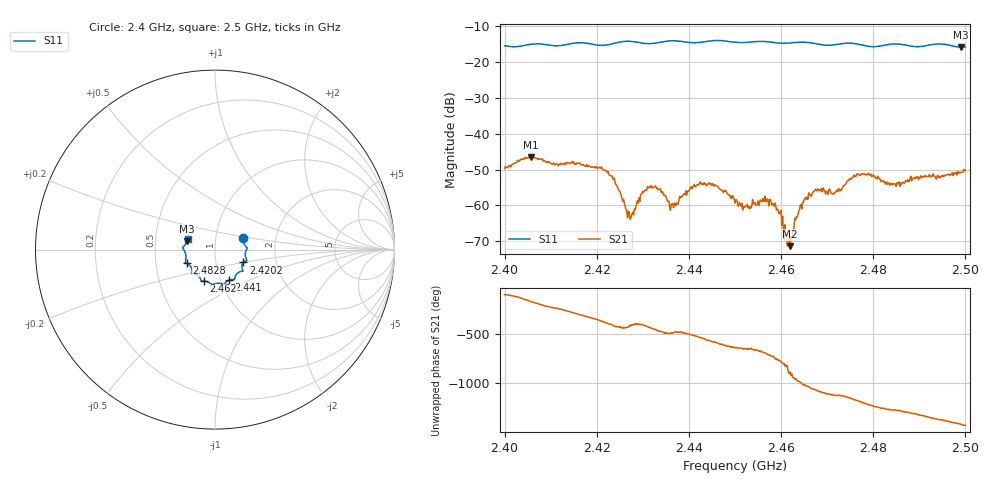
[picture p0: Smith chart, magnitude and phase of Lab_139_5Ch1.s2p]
# Hz S RI R 50
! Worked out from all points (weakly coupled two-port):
!   601 points, 2.4 GHz to 2.5 GHz, reference 50 ohm
!   highest |S21| = -46.51 dB at 2.4057 GHz (marker M1); lowest = -71.4 dB at 2.462 GHz (marker M2)
!   lowest |S11| = -15.8 dB at 2.499 GHz (marker M3), VSWR 1.39, Z = 36.4 + j3.51 ohm
!   |S11| at or under -10 dB: start of sweep to end of sweep
!   S12 and S22 are empty: the file has one direction only
!   S11 on the Smith chart (normalised r, x): 2.4 GHz: 1.36, +0.18; 2.4202 GHz: 1.36, -0.20; 2.441 GHz: 1.10, -0.39; 2.462 GHz: 0.84, -0.30; 2.4828 GHz: 0.72, -0.11; 2.5 GHz: 0.73, +0.09
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2.4e9  0.1581 0.0624  -0.000915 -0.00313  0 0  0 0
2.405667e9  0.178 0.0119  -0.00471 -0.000417  0 0  0 0
2.416667e9  0.1771 -0.0607  0.00248 0.00276  0 0  0 0
2.420167e9  0.1581 -0.0713  0.00329 0.000155  0 0  0 0
2.4235e9  0.1503 -0.1029  0.00138 -0.00186  0 0  0 0
2.427167e9  0.1556 -0.1191  0.000401 -0.000533  0 0  0 0
2.4305e9  0.1313 -0.1273  0.000863 -0.00138  0 0  0 0
2.433333e9  0.1116 -0.1512  -0.000539 -0.00156  0 0  0 0
2.436333e9  0.1088 -0.1674  -0.00077 -0.000727  0 0  0 0
2.441e9  0.0782 -0.1699  -0.00171 -0.000773  0 0  0 0
2.444667e9  0.0532 -0.1916  -0.00169 0.000965  0 0  0 0
2.45e9  0.0282 -0.1879  0.000178 0.00106  0 0  0 0
2.458167e9  -0.0266 -0.1876  0.00105 -0.000157  0 0  0 0
2.462e9  -0.0607 -0.1759  -0.000263 -6e-05  0 0  0 0
2.463833e9  -0.0729 -0.1758  -0.00015 0.000816  0 0  0 0
2.466667e9  -0.0788 -0.1681  0.00125 0.000576  0 0  0 0
2.4715e9  -0.1095 -0.1366  0.00114 -0.000948  0 0  0 0
2.477e9  -0.127 -0.124  -0.00056 -0.00259  0 0  0 0
2.482833e9  -0.1574 -0.0766  -0.00205 -2.44e-06  0 0  0 0
2.483333e9  -0.1607 -0.0753  -0.00207 3.46e-05  0 0  0 0
2.499e9  -0.1553 0.0469  0.00258 0.00129  0 0  0 0
2.5e9  -0.1521 0.061  0.00299 0.000801  0 0  0 0
